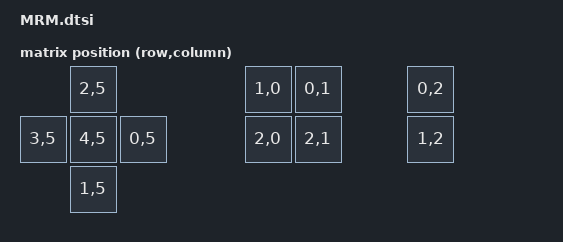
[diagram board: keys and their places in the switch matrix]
#include <dt-bindings/zmk/matrix_transform.h>
#include <physical_layouts.dtsi>
#include <behaviors/rgbled_widget.dtsi>

/ {
	chosen {
		zmk,physical-layout = &layout_MRM;
	};
   
	default_transform: keymap_transform_0 {
		compatible = "zmk,matrix-transform";
		columns = <5>;
		rows = <5>;
		
		map = <
	 	           RC( 2, 5)             RC( 1, 0)  RC( 0, 1)  RC( 0, 2)
		RC( 3, 5)  RC( 4, 5)  RC( 0, 5)  RC( 2, 0)  RC( 2, 1)  RC( 1, 2)
		           RC( 1, 5)
      >;
	};

	layout_MRM: layout_MRM {
		compatible = "zmk,physical-layout";
		display-name = "MRM";
		transform = <&default_transform>;
		kscan = <&kscan0>;
		
        keys  //                     w   h    x    y     rot    rx    ry
            = <&key_physical_attrs 100 100  150    0       0     0     0>
            , <&key_physical_attrs 100 100  500    0       0     0     0>
            , <&key_physical_attrs 100 100  600    0       0     0     0>
            , <&key_physical_attrs 100 100  825    0       0     0     0>
            , <&key_physical_attrs 100 100   50  100       0     0     0>
            , <&key_physical_attrs 100 100  150  100       0     0     0>
            , <&key_physical_attrs 100 100  250  100       0     0     0>
            , <&key_physical_attrs 100 100  500  100       0     0     0>
            , <&key_physical_attrs 100 100  600  100       0     0     0>
            , <&key_physical_attrs 100 100  825  100       0     0     0>
            , <&key_physical_attrs 100 100  150  200       0     0     0>
            ;
	};

    position_map {
        compatible = "zmk,physical-layout-position-map";

        layout_MRM {
            physical-layout = <&layout_MRM>;
            positions = <>;
        };
    };

   aliases {
      led-red = &led0;
      led-green = &led1;
      led-blue = &led2;
   };

   leds {
      compatible = "gpio-leds";
      status = "okay";
      led0: led_0 {
        gpios = <&gpio0 26 GPIO_ACTIVE_LOW>;  // red LED, connected to P0.26
      };
      led1: led_1 {
        gpios = <&gpio0 30 GPIO_ACTIVE_LOW>;  // green LED, connected to P0.30
      };
      led2: led_2 {
        gpios = <&gpio0 6 GPIO_ACTIVE_LOW>;  // blue LED, connected to P0.06
      };
   };
   
   // Encoders
   slot1_encoder: slot1_encoder {
      compatible = "alps,ec11";
      status = "disabled";
   };

   slot2_encoder: slot2_encoder {
      compatible = "alps,ec11";
      status = "disabled";
   };

   slot3_encoder: slot3_encoder {
      compatible = "alps,ec11";
      status = "disabled";
   };

   sensors: sensors {
      compatible = "zmk,keymap-sensors";
      sensors = <&slot1_encoder &slot2_encoder &slot3_encoder>;
   };

   vbatt: vbatt {
    // Disable default battery monitoring
    status = "disabled";
   };
};
